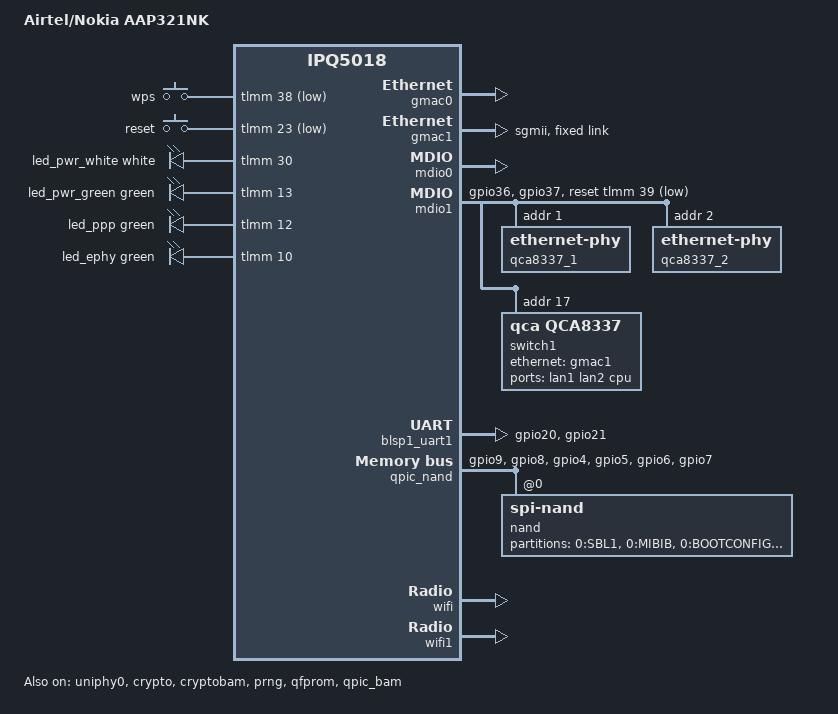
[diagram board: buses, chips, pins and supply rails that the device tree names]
// SPDX-License-Identifier: GPL-2.0-or-later OR MIT
/*
 * Airtel/Nokia AAP321NK IDU (Qualcomm IPQ5018)
 *
 * Modeled on the Linksys MX2000 / GL-B3000 (same SoC, same radio pair:
 * IPQ5018 integrated 2.4 GHz + QCN6122 5 GHz). Hardware facts taken from
 * the vendor DTB extracted from the live device (/sys/firmware/fdt).
 *
 * Ethernet topology (from vendor ess-instance, num_devices = 2):
 *
 *    _______________________         _______________________
 *   |        IPQ5018        |       |        QCA8337        |
 *   | +------+   +--------+ |       | +--------+   +------+ |
 *   | | MAC0 |---| GE Phy |-+--WAN  | |  Phy0  |---| MAC1 |-+-- LAN4
 *   | +------+   +--------+ |       | +--------+   +------+ |
 *   | +------+   +--------+ |       | +--------+   +------+ |
 *   | | MAC1 |---| Uniphy |-+-SGMII-+-| SerDes |   |  ...  |-+-- LAN1..3
 *   | +------+   +--------+ |       | +--------+   +------+ |
 *   |_______________________|       |_______________________|
 *
 * MAC0 -> internal GE Phy (mdio0, addr 7)           = WAN
 * MAC1 -> Uniphy -> SGMII -> QCA8337 (mdio1)        = LAN1..LAN4 (phy 0..3)
 */

/dts-v1/;

#include "ipq5018.dtsi"
#include "ipq5018-ess.dtsi"
#include "ipq5018-qcn6122.dtsi"

#include <dt-bindings/gpio/gpio.h>
#include <dt-bindings/input/input.h>
#include <dt-bindings/leds/common.h>

/ {
	model = "Airtel/Nokia AAP321NK";
	compatible = "airtel,aap321nk", "qcom,ipq5018";

	aliases {
		serial0 = &blsp1_uart1;
		ethernet0 = &gmac0;
		ethernet1 = &gmac1;
		label-mac-device = <&gmac0>;
		led-boot = &led_pwr_white;
		led-failsafe = &led_pwr_green;
		led-running = &led_pwr_white;
		led-upgrade = &led_pwr_green;
	};

	chosen {
		bootargs-append = " root=/dev/ubiblock0_1 swiotlb=1 coherent_pool=2M";
		stdout-path = "serial0:115200n8";
	};

	keys {
		compatible = "gpio-keys";
		pinctrl-0 = <&button_pins>;
		pinctrl-names = "default";

		wps-button {
			label = "wps";
			gpios = <&tlmm 38 GPIO_ACTIVE_LOW>;
			linux,code = <KEY_WPS_BUTTON>;
		};

		reset-button {
			label = "reset";
			gpios = <&tlmm 23 GPIO_ACTIVE_LOW>;
			linux,code = <KEY_RESTART>;
		};
	};

	leds {
		compatible = "gpio-leds";
		pinctrl-0 = <&leds_pins>;
		pinctrl-names = "default";

		led_pwr_white: power-white {
			color = <LED_COLOR_ID_WHITE>;
			function = LED_FUNCTION_POWER;
			gpios = <&tlmm 30 GPIO_ACTIVE_HIGH>;
		};

		led_pwr_green: power-green {
			color = <LED_COLOR_ID_GREEN>;
			function = LED_FUNCTION_POWER;
			gpios = <&tlmm 13 GPIO_ACTIVE_HIGH>;
		};

		led_ppp: power-ppp {
			color = <LED_COLOR_ID_GREEN>;
			function = LED_FUNCTION_WAN;
			gpios = <&tlmm 12 GPIO_ACTIVE_HIGH>;
		};

		led_ephy: power-ephy {
			color = <LED_COLOR_ID_GREEN>;
			function = LED_FUNCTION_LAN;
			gpios = <&tlmm 10 GPIO_ACTIVE_HIGH>;
		};
	};
};

&uniphy0 {
	status = "okay";

	assigned-clocks = <&uniphy0 UNIPHY_CLK_REF>;
	assigned-clock-rates = <UNIPHY_REFCLK_25MHZ>;
};

// MAC0 -> GE Phy -> WAN
&gmac0 {
	status = "okay";

	label = "wan";

	nvmem-cells = <&macaddr_art 0>;
	nvmem-cell-names = "mac-address";
};

// MAC1 ---SGMII---> QCA8337 SerDes
&gmac1 {
	status = "okay";

	phy-mode = "sgmii";

	nvmem-cells = <&macaddr_art 1>;
	nvmem-cell-names = "mac-address";

	fixed-link {
		speed = <1000>;
		full-duplex;
	};
};

&mdio0 {
	status = "okay";
};

&mdio1 {
	status = "okay";

	pinctrl-0 = <&mdio1_pins>;
	pinctrl-names = "default";
	reset-gpios = <&tlmm 39 GPIO_ACTIVE_LOW>;

	/*
	 * The AAP321NK exposes only TWO physical LAN jacks (+ one WAN on the
	 * GE-PHY). They are wired to QCA8337 phy1 and phy2; phy0/phy3 have no
	 * jack, so only these two switch user-ports are defined.
	 */
	// QCA8337 Phy1 -> LAN1
	qca8337_1: ethernet-phy@1 {
		reg = <1>;
	};

	// QCA8337 Phy2 -> LAN2
	qca8337_2: ethernet-phy@2 {
		reg = <2>;
	};

	// QCA8337 switch
	switch1: ethernet-switch@17 {
		compatible = "qca,qca8337";
		reg = <17>;
		#address-cells = <1>;
		#size-cells = <0>;

		ports {
			#address-cells = <1>;
			#size-cells = <0>;

			port@2 {
				reg = <2>;
				label = "lan1";
				phy-handle = <&qca8337_1>;
			};

			port@3 {
				reg = <3>;
				label = "lan2";
				phy-handle = <&qca8337_2>;
			};

			port@6 {
				reg = <6>;
				label = "cpu";
				phy-mode = "sgmii";
				ethernet = <&gmac1>;
				qca,sgmii-enable-pll;

				fixed-link {
					speed = <1000>;
					full-duplex;
				};
			};
		};
	};
};

&sleep_clk {
	clock-frequency = <32000>;
};

&xo_board_clk {
	clock-div = <4>;
	clock-mult = <1>;
};

&blsp1_uart1 {
	status = "okay";

	pinctrl-0 = <&serial_0_pins>;
	pinctrl-names = "default";
};

&crypto {
	status = "okay";
};

&cryptobam {
	status = "okay";
};

&prng {
	status = "okay";
};

&qfprom {
	status = "okay";
};

&qpic_bam {
	status = "okay";
};

&qpic_nand {
	pinctrl-0 = <&qpic_pins>;
	pinctrl-names = "default";
	status = "okay";

	nand@0 {
		compatible = "spi-nand";
		reg = <0>;
		nand-ecc-engine = <&qpic_nand>;
		nand-bus-width = <8>;

		partitions {
			compatible = "fixed-partitions";
			#address-cells = <1>;
			#size-cells = <1>;

			partition@0 {
				label = "0:SBL1";
				reg = <0x0 0x140000>;
				read-only;
			};

			partition@140000 {
				label = "0:MIBIB";
				reg = <0x140000 0x140000>;
				read-only;
			};

			partition@280000 {
				label = "0:BOOTCONFIG";
				reg = <0x280000 0x100000>;
				read-only;
			};

			partition@380000 {
				label = "0:BOOTCONFIG1";
				reg = <0x380000 0x100000>;
				read-only;
			};

			partition@480000 {
				label = "0:QSEE";
				reg = <0x480000 0x200000>;
				read-only;
			};

			partition@680000 {
				label = "0:QSEE_1";
				reg = <0x680000 0x200000>;
				read-only;
			};

			partition@880000 {
				label = "0:DEVCFG";
				reg = <0x880000 0x100000>;
				read-only;
			};

			partition@980000 {
				label = "0:DEVCFG_1";
				reg = <0x980000 0x100000>;
				read-only;
			};

			partition@a80000 {
				label = "0:CDT";
				reg = <0xa80000 0x100000>;
				read-only;
			};

			partition@b80000 {
				label = "0:CDT_1";
				reg = <0xb80000 0x100000>;
				read-only;
			};

			partition@c80000 {
				label = "0:APPSBLENV";
				reg = <0xc80000 0x140000>;
			};

			partition@dc0000 {
				label = "RI";
				reg = <0xdc0000 0x2c0000>;
				read-only;
			};

			partition@1080000 {
				label = "0:APPSBL";
				reg = <0x1080000 0x1c0000>;
				read-only;
			};

			partition@1240000 {
				label = "0:APPSBL_1";
				reg = <0x1240000 0x1c0000>;
				read-only;
			};

			partition@1400000 {
				label = "0:ART";
				reg = <0x1400000 0x140000>;
				read-only;

				nvmem-layout {
					compatible = "fixed-layout";
					#address-cells = <1>;
					#size-cells = <1>;

					macaddr_art: macaddr@0 {
						compatible = "mac-base";
						reg = <0x0 0x6>;
						#nvmem-cell-cells = <1>;
					};
				};
			};

			partition@1540000 {
				label = "cfg";
				reg = <0x1540000 0x2000000>;
			};

			partition@3540000 {
				label = "cfg_1";
				reg = <0x3540000 0x2000000>;
			};

			partition@5540000 {
				label = "0:TRAINING";
				reg = <0x5540000 0x80000>;
			};

			partition@55c0000 {
				label = "rootfs";
				reg = <0x55c0000 0x6400000>;
			};

			partition@b9c0000 {
				label = "rootfs_1";
				reg = <0xb9c0000 0x6400000>;
			};

			partition@11dc0000 {
				label = "log";
				reg = <0x11dc0000 0x2000000>;
			};

			partition@13dc0000 {
				label = "extfs";
				reg = <0x13dc0000 0xc00000>;
			};

			partition@149c0000 {
				label = "user_data";
				reg = <0x149c0000 0xaac0000>;
			};
		};
	};
};

&tlmm {
	button_pins: button-state {
		pins = "gpio23", "gpio38";
		function = "gpio";
		drive-strength = <8>;
		bias-pull-up;
	};

	mdio1_pins: mdio-state {
		mdc-pins {
			pins = "gpio36";
			function = "mdc";
			drive-strength = <8>;
			bias-pull-up;
		};

		mdio-pins {
			pins = "gpio37";
			function = "mdio";
			drive-strength = <8>;
			bias-pull-up;
		};
	};

	leds_pins: leds-state {
		pins = "gpio10", "gpio12", "gpio13", "gpio30";
		function = "gpio";
		drive-strength = <8>;
		bias-pull-down;
	};

	qpic_pins: qpic-state {
		clock-pins {
			pins = "gpio9";
			function = "qspi_clk";
			drive-strength = <8>;
			bias-disable;
		};

		cs-pins {
			pins = "gpio8";
			function = "qspi_cs";
			drive-strength = <8>;
			bias-disable;
		};

		data-pins {
			pins = "gpio4", "gpio5", "gpio6", "gpio7";
			function = "qspi_data";
			drive-strength = <8>;
			bias-disable;
		};
	};

	serial_0_pins: uart0-state {
		pins = "gpio20", "gpio21";
		function = "blsp0_uart0";
		bias-disable;
	};
};

&q6v5_wcss {
	/*
	 * boot-args MUST match the stock Airtel firmware's expectation verbatim
	 * (taken from the vendor DTS) — the Q6 fw validates the per-userpd boot
	 * info written to SMEM and a mismatch fatals as "err_smem_ver.2.1",
	 * crashing the whole Q6. The generic single-entry mx2000-style layout
	 * (QCN6122 on UPD2) does NOT work on this unit; the QCN6122 must be on
	 * UPD3 and a second type-2 UPD2 entry is required. With this exact layout
	 * both radios (2.4 GHz internal + 5 GHz QCN6122) come up cleanly.
	 *   entry1: type1(PCIE0) len4 UPD3 reset-gpio15
	 *   entry2: type2        len4 UPD2 val0x12
	 */
	boot-args = <
			0x01 0x04 0x03 0x0f 0x00 0x00
			0x02 0x04 0x02 0x12 0x00 0x00>;
};

&wifi {
	status = "okay";

	qcom,rproc = <&q6_wcss_pd1>;
	qcom,ath11k-calibration-variant = "Airtel-AAP321NK";
	qcom,ath11k-fw-memory-mode = <1>;
	qcom,bdf-addr = <0x4c400000>;
};

&wifi1 {
	/*
	 * QCN6122 5 GHz radio. Works once &q6v5_wcss boot-args matches the stock
	 * vendor layout (see above) — board.bin (vendor BDF) + caldata from
	 * 0:ART @0x26800 are supplied via files/ overlay + 11-ath11k-caldata.
	 */
	status = "okay";

	qcom,rproc = <&q6_wcss_pd2>;
	qcom,userpd-subsys-name = "q6v5_wcss_userpd2";
	qcom,ath11k-calibration-variant = "Airtel-AAP321NK";
	qcom,ath11k-fw-memory-mode = <1>;
	qcom,bdf-addr = <0x4d100000>;
	qcom,m3-dump-addr = <0x4df00000>;
};
